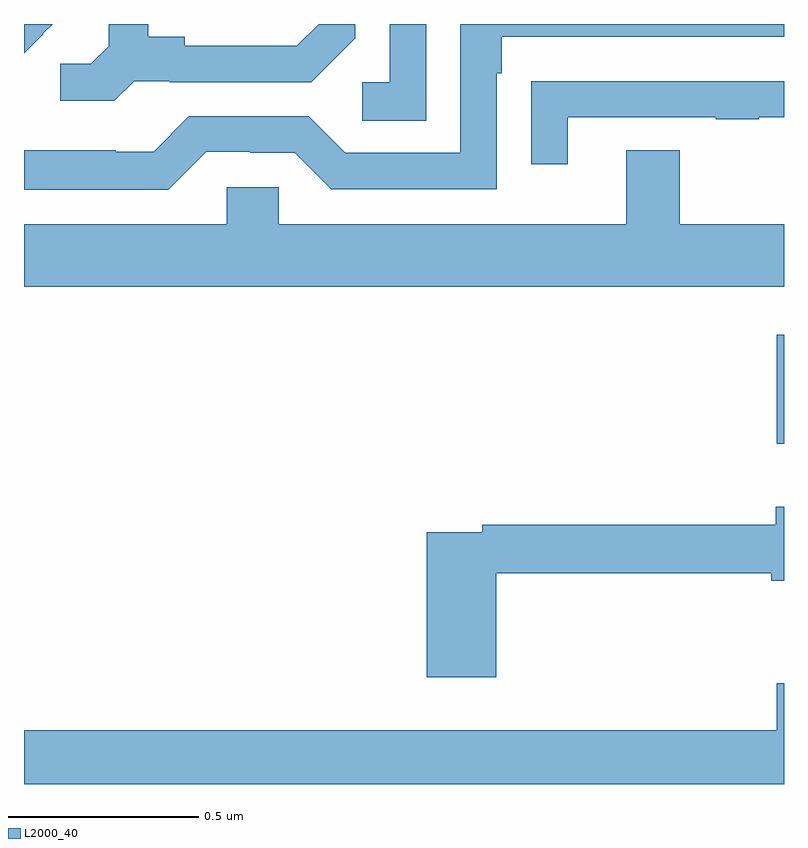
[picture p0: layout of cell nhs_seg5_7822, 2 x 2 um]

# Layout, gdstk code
import gdstk
lib = gdstk.Library(unit=1e-6, precision=1e-09)
def R(c, l, rs):  # rectangles x0, y0, x1, y1
    for r in rs: c.add(gdstk.rectangle(r[:2], r[2:], *l))
def P(c, l, *ps):  # polygons
    for p in ps: c.add(gdstk.Polygon(p, *l))
L2000_40 = (2000, 40)

nhs_seg5_7822 = lib.new_cell('nhs_seg5_7822')
R(nhs_seg5_7822, L2000_40, [(215.981,841.694,216,841.981)])
P(nhs_seg5_7822, L2000_40, [(214.05,842.772),(214.049,842.773),(214.075,842.799),(214,842.799),(214,842.722)],
  [(214.479,842.463),(214.595,842.463),(214.595,842.46),(214.713,842.46),(214.809,842.364),(215.244,842.364),(215.244,842.669),(215.257,842.669),(215.257,842.766),(216,842.766),(216,842.799),(215.148,842.799),(215.148,842.46),(214.845,842.46),(214.749,842.556),(214.434,842.556),(214.341,842.463),(214.241,842.463),(214.241,842.467),(214,842.467),(214,842.363),(214.379,842.363)],
  [(214.29,842.649),(214.384,842.649),(214.384,842.646),(214.756,842.646),(214.872,842.762),(214.872,842.799),(214.775,842.799),(214.718,842.742),(214.423,842.742),(214.423,842.765),(214.327,842.765),(214.327,842.799),(214.223,842.799),(214.223,842.741),(214.176,842.694),(214.095,842.694),(214.095,842.597),(214.238,842.597)],
  [(215.058,842.799),(214.962,842.799),(214.962,842.646),(214.89,842.646),(214.89,842.545),(215.058,842.545)],
  [(215.431,842.553),(215.821,842.553),(215.821,842.548),(215.933,842.548),(215.933,842.553),(216,842.553),(216,842.649),(215.437,842.649),(215.437,842.648),(215.335,842.648),(215.335,842.43),(215.431,842.43)],
  [(216,842.272),(215.725,842.272),(215.725,842.467),(215.585,842.467),(215.585,842.272),(214.671,842.272),(214.671,842.37),(214.533,842.37),(214.533,842.272),(214,842.272),(214,842.108),(216,842.108)],
  [(215.243,841.353),(215.966,841.353),(215.966,841.334),(216,841.334),(216,841.528),(215.978,841.528),(215.978,841.481),(215.206,841.481),(215.206,841.461),(215.06,841.461),(215.06,841.08),(215.243,841.08)],
  [(216,841.064),(215.981,841.064),(215.981,840.94),(214,840.94),(214,840.799),(216,840.799)])

lib.write_gds('nhs_seg5_7822.gds')
